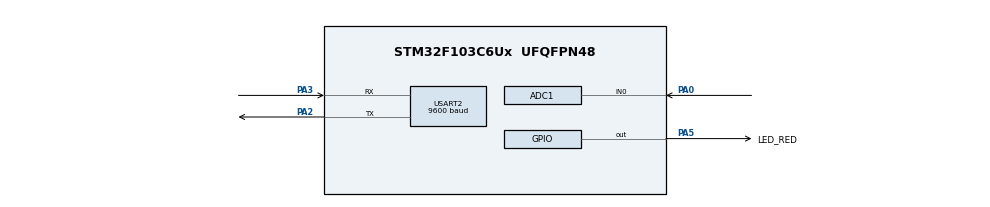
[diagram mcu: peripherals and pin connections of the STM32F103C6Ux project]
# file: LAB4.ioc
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ADC1.Channel-0\#ChannelRegularConversion=ADC_CHANNEL_0
ADC1.ContinuousConvMode=ENABLE
ADC1.NbrOfConversionFlag=1
ADC1.Rank-0\#ChannelRegularConversion=1
ADC1.SamplingTime-0\#ChannelRegularConversion=ADC_SAMPLETIME_1CYCLE_5
ADC1.master=1
Mcu.Family=STM32F1
Mcu.Name=STM32F103C6Ux
Mcu.Package=UFQFPN48
NVIC.PriorityGroup=NVIC_PRIORITYGROUP_4
NVIC.TIM2_IRQn=true\:0\:0\:false\:false\:true\:true\:true
NVIC.USART2_IRQn=true\:0\:0\:false\:false\:true\:true\:true
PA0-WKUP.Signal=ADCx_IN0
PA13.Mode=Serial_Wire
PA13.Signal=SYS_JTMS-SWDIO
PA14.Mode=Serial_Wire
PA14.Signal=SYS_JTCK-SWCLK
PA2.Mode=Asynchronous
PA2.Signal=USART2_TX
PA3.Mode=Asynchronous
PA3.Signal=USART2_RX
PA5.GPIO_Label=LED_RED
PA5.Signal=GPIO_Output
ProjectManager.HeapSize=0x200
ProjectManager.StackSize=0x400
ProjectManager.TargetToolchain=STM32CubeIDE
RCC.APB1Freq_Value=8000000
RCC.APB2Freq_Value=8000000
SH.ADCx_IN0.0=ADC1_IN0,IN0
TIM2.Period=9
TIM2.Prescaler=7999
USART2.BaudRate=9600
USART2.VirtualMode=VM_ASYNC
VP_TIM2_VS_ClockSourceINT.Mode=Internal
board=custom

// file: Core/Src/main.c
/* USER CODE BEGIN Header */
/**
  ******************************************************************************
  * @file           : main.c
  * @brief          : Main program body
  ******************************************************************************
  * @attention
  *
  * <h2><center>&copy; Copyright (c) 2023 STMicroelectronics.
  * All rights reserved.</center></h2>
  *
  * This software component is licensed by ST under BSD 3-Clause license,
  * the "License"; You may not use this file except in compliance with the
  * License. You may obtain a copy of the License at:
  *                        opensource.org/licenses/BSD-3-Clause
  *
  ******************************************************************************
  */
/* USER CODE END Header */
#include "main.h"

/* USER CODE BEGIN Includes */
#include <string.h>
#include <stdio.h>
#include "softwareTimer.h"
/* USER CODE END Includes */

/* USER CODE BEGIN PD */
#define MAX_BUFFER_SIZE 30
/* USER CODE END PD */

ADC_HandleTypeDef hadc1;

TIM_HandleTypeDef htim2;

UART_HandleTypeDef huart2;

/* USER CODE BEGIN PV */
uint32_t ADC_Value= 0;
uint8_t temp= 0;
uint8_t buffer[MAX_BUFFER_SIZE];
uint8_t index_buffer= 0;
uint8_t buffer_flag= 0;
uint8_t cmd_oke[]= "!OK#";
uint8_t cmd_rst[]= "!RST#";
uint8_t flagRST= 0;
uint8_t flagWait= 0;
uint8_t start_index= 0;
uint8_t valid= 0;
/* USER CODE END PV */

void SystemClock_Config(void);
static void MX_GPIO_Init(void);
static void MX_TIM2_Init(void);
static void MX_ADC1_Init(void);
static void MX_USART2_UART_Init(void);

/* USER CODE BEGIN 0 */
void HAL_UART_RxCpltCallback(UART_HandleTypeDef * huart )
{
	if (huart->Instance== USART2)
	{
		buffer_flag= 1;
		HAL_UART_Receive_IT(&huart2, &temp, 1);
	}
}
void command_parser_fsm()
{
	switch (temp)
	{
		case '!':
			start_index= 0;
			buffer[start_index++]= temp;
			valid= 1;
			break;
		case '#':
			if (valid== 1)
			{
				buffer[start_index++]= temp;
				buffer[start_index++]= '\0';
				valid= 0;
				if (strcmp(buffer, cmd_oke)== 0)
				{
					flagWait= 0;
					char newline[]= "\r\n";
					HAL_UART_Transmit(&huart2, (uint8_t*)newline, strlen(newline), 1000);
				}
				else
				{
					if (strcmp(buffer, cmd_rst)== 0)
					{

						flagRST= 1;
						flagWait= 1;
					}
				}
			}
			break;
		default:
			if (valid== 1)
			{
				buffer[start_index++]= temp;
				if (start_index== MAX_BUFFER_SIZE)
					valid= 0;
			}
			break;
	}
}

void UART_Trasmit()
{
	char first[]= "!ADC=";
	HAL_UART_Transmit(&huart2, (uint8_t*)first, sizeof(first), 1000);

	char second[10];
	itoa(ADC_Value, second, 10);
	HAL_UART_Transmit(&huart2, (uint8_t*)second, strlen(second), 1000);

	char third[]= "#\r\n";
	HAL_UART_Transmit(&huart2, (uint8_t*)third, sizeof(third), 1000);
}

void uart_communication_fsm()
{
	if (flagRST== 1)
	{
		setTimer(300);
		ADC_Value= HAL_ADC_GetValue(&hadc1);
		char newline[]= "\r\n";
		HAL_UART_Transmit(&huart2, (uint8_t*)newline, strlen(newline), 1000);
		UART_Trasmit();
		flagRST= 0;
	}
	else
	{
		if (flagWait)
		{
			if (flag1)
			{
				setTimer(300);
				UART_Trasmit();
			}
		}
	}
}
/* USER CODE END 0 */

int main(void)
{

  /* MCU Configuration--------------------------------------------------------*/

  /* Reset of all peripherals, Initializes the Flash interface and the Systick. */
  HAL_Init();

  /* Configure the system clock */
  SystemClock_Config();

  /* Initialize all configured peripherals */
  MX_GPIO_Init();
  MX_TIM2_Init();
  MX_ADC1_Init();
  MX_USART2_UART_Init();
  /* USER CODE BEGIN 2 */
  HAL_ADC_Start(&hadc1);
  HAL_UART_Receive_IT(&huart2, &temp, 1);
  HAL_TIM_Base_Start_IT(&htim2);
  /* USER CODE END 2 */

  /* Infinite loop */
  /* USER CODE BEGIN WHILE */
  while (1)
  {
	  if (buffer_flag)
	  {
		  command_parser_fsm();
		  buffer_flag= 0;
	  }
	  uart_communication_fsm();
    /* USER CODE END WHILE */

  }
}

void SystemClock_Config(void)
{
  RCC_OscInitTypeDef RCC_OscInitStruct = {0};
  RCC_ClkInitTypeDef RCC_ClkInitStruct = {0};
  RCC_PeriphCLKInitTypeDef PeriphClkInit = {0};

  /** Initializes the RCC Oscillators according to the specified parameters
  * in the RCC_OscInitTypeDef structure.
  */
  RCC_OscInitStruct.OscillatorType = RCC_OSCILLATORTYPE_HSI;
  RCC_OscInitStruct.HSIState = RCC_HSI_ON;
  RCC_OscInitStruct.HSICalibrationValue = RCC_HSICALIBRATION_DEFAULT;
  RCC_OscInitStruct.PLL.PLLState = RCC_PLL_NONE;
  if (HAL_RCC_OscConfig(&RCC_OscInitStruct) != HAL_OK)
  {
    Error_Handler();
  }
  /** Initializes the CPU, AHB and APB buses clocks
  */
  RCC_ClkInitStruct.ClockType = RCC_CLOCKTYPE_HCLK|RCC_CLOCKTYPE_SYSCLK
                              |RCC_CLOCKTYPE_PCLK1|RCC_CLOCKTYPE_PCLK2;
  RCC_ClkInitStruct.SYSCLKSource = RCC_SYSCLKSOURCE_HSI;
  RCC_ClkInitStruct.AHBCLKDivider = RCC_SYSCLK_DIV1;
  RCC_ClkInitStruct.APB1CLKDivider = RCC_HCLK_DIV1;
  RCC_ClkInitStruct.APB2CLKDivider = RCC_HCLK_DIV1;

  if (HAL_RCC_ClockConfig(&RCC_ClkInitStruct, FLASH_LATENCY_0) != HAL_OK)
  {
    Error_Handler();
  }
  PeriphClkInit.PeriphClockSelection = RCC_PERIPHCLK_ADC;
  PeriphClkInit.AdcClockSelection = RCC_ADCPCLK2_DIV2;
  if (HAL_RCCEx_PeriphCLKConfig(&PeriphClkInit) != HAL_OK)
  {
    Error_Handler();
  }
}

static void MX_ADC1_Init(void)
{

  ADC_ChannelConfTypeDef sConfig = {0};

  /** Common config
  */
  hadc1.Instance = ADC1;
  hadc1.Init.ScanConvMode = ADC_SCAN_DISABLE;
  hadc1.Init.ContinuousConvMode = ENABLE;
  hadc1.Init.DiscontinuousConvMode = DISABLE;
  hadc1.Init.ExternalTrigConv = ADC_SOFTWARE_START;
  hadc1.Init.DataAlign = ADC_DATAALIGN_RIGHT;
  hadc1.Init.NbrOfConversion = 1;
  if (HAL_ADC_Init(&hadc1) != HAL_OK)
  {
    Error_Handler();
  }
  /** Configure Regular Channel
  */
  sConfig.Channel = ADC_CHANNEL_0;
  sConfig.Rank = ADC_REGULAR_RANK_1;
  sConfig.SamplingTime = ADC_SAMPLETIME_1CYCLE_5;
  if (HAL_ADC_ConfigChannel(&hadc1, &sConfig) != HAL_OK)
  {
    Error_Handler();
  }

}

static void MX_TIM2_Init(void)
{

  TIM_ClockConfigTypeDef sClockSourceConfig = {0};
  TIM_MasterConfigTypeDef sMasterConfig = {0};

  htim2.Instance = TIM2;
  htim2.Init.Prescaler = 7999;
  htim2.Init.CounterMode = TIM_COUNTERMODE_UP;
  htim2.Init.Period = 9;
  htim2.Init.ClockDivision = TIM_CLOCKDIVISION_DIV1;
  htim2.Init.AutoReloadPreload = TIM_AUTORELOAD_PRELOAD_DISABLE;
  if (HAL_TIM_Base_Init(&htim2) != HAL_OK)
  {
    Error_Handler();
  }
  sClockSourceConfig.ClockSource = TIM_CLOCKSOURCE_INTERNAL;
  if (HAL_TIM_ConfigClockSource(&htim2, &sClockSourceConfig) != HAL_OK)
  {
    Error_Handler();
  }
  sMasterConfig.MasterOutputTrigger = TIM_TRGO_RESET;
  sMasterConfig.MasterSlaveMode = TIM_MASTERSLAVEMODE_DISABLE;
  if (HAL_TIMEx_MasterConfigSynchronization(&htim2, &sMasterConfig) != HAL_OK)
  {
    Error_Handler();
  }

}

static void MX_USART2_UART_Init(void)
{

  huart2.Instance = USART2;
  huart2.Init.BaudRate = 9600;
  huart2.Init.WordLength = UART_WORDLENGTH_8B;
  huart2.Init.StopBits = UART_STOPBITS_1;
  huart2.Init.Parity = UART_PARITY_NONE;
  huart2.Init.Mode = UART_MODE_TX_RX;
  huart2.Init.HwFlowCtl = UART_HWCONTROL_NONE;
  huart2.Init.OverSampling = UART_OVERSAMPLING_16;
  if (HAL_UART_Init(&huart2) != HAL_OK)
  {
    Error_Handler();
  }

}

static void MX_GPIO_Init(void)
{
  GPIO_InitTypeDef GPIO_InitStruct = {0};

  /* GPIO Ports Clock Enable */
  __HAL_RCC_GPIOA_CLK_ENABLE();

  /*Configure GPIO pin Output Level */
  HAL_GPIO_WritePin(LED_RED_GPIO_Port, LED_RED_Pin, GPIO_PIN_RESET);

  /*Configure GPIO pin : LED_RED_Pin */
  GPIO_InitStruct.Pin = LED_RED_Pin;
  GPIO_InitStruct.Mode = GPIO_MODE_OUTPUT_PP;
  GPIO_InitStruct.Pull = GPIO_NOPULL;
  GPIO_InitStruct.Speed = GPIO_SPEED_FREQ_LOW;
  HAL_GPIO_Init(LED_RED_GPIO_Port, &GPIO_InitStruct);

}

/* USER CODE BEGIN 4 */
void HAL_TIM_PeriodElapsedCallback(TIM_HandleTypeDef *htim)
{
	runTimer();
}
/* USER CODE END 4 */

void Error_Handler(void)
{
  __disable_irq();
  while (1)
  {
  }
}

/************************ (C) COPYRIGHT STMicroelectronics *****END OF FILE****/
